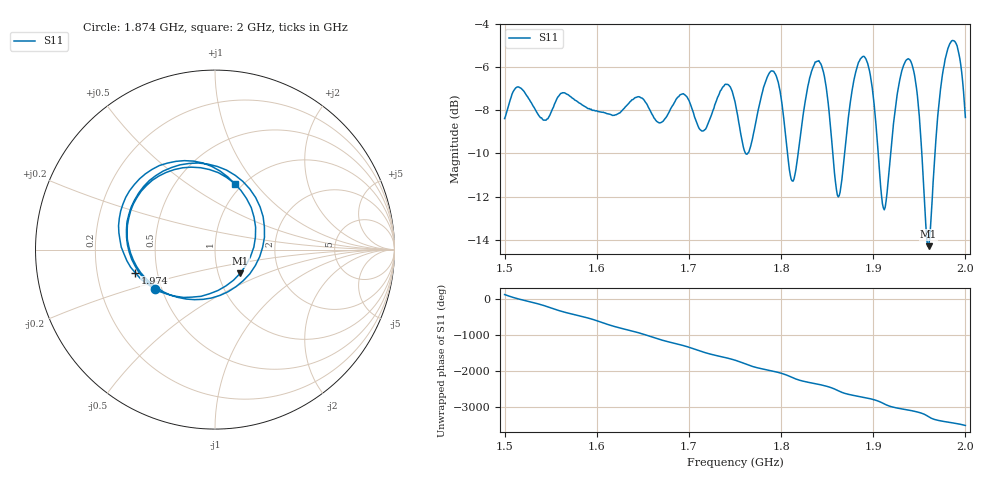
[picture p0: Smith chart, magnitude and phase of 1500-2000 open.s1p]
! NanoVNA-App by SYSJOINT et al v1.1.209 (+OD18)
! Date: 2025-09-17 10:25:24
! Start: 1.5GHz Stop: 2GHz Points: 501
! S-Parameter data: F S11
# Hz S RI R 50
!  Frequency  S11_Real  S11_Imag
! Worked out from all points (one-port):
!   501 points, 1.5 GHz to 2 GHz, reference 50 ohm
!   lowest |S11| = -14.3 dB at 1.96 GHz (marker M1), VSWR 1.48, Z = 63.7 - j17.5 ohm
!   |S11| at or under -10 dB: 1.807 GHz to 1.818 GHz (11.53 MHz wide, 0.636 % of centre); 1.905 GHz to 1.919 GHz (13.47 MHz wide, 0.704 % of centre); 1.953 GHz to 1.967 GHz (14.21 MHz wide, 0.725 % of centre) (the widest 3 of 5)
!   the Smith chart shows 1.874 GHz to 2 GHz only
!   S11 on the Smith chart (normalised r, x): 1.874 GHz: 0.46, -0.24; 1.974 GHz: 0.37, -0.12; 2 GHz: 0.92, +0.79
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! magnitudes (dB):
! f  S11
! 1.5 GHz  -8.4
! 1.514 GHz  -6.9
! 1.543 GHz  -8.5
! 1.563 GHz  -7.2
! 1.625 GHz  -8.1
! 1.669 GHz  -8.6
! 1.688 GHz  -7.4
! 1.714 GHz  -9.0
! 1.738 GHz  -6.9
! 1.75 GHz  -7.6
! 1.764 GHz  -10.0
! 1.793 GHz  -6.3
! 1.813 GHz  -11.3
! 1.837 GHz  -5.8
! 1.848 GHz  -6.7
! 1.862 GHz  -12.0
! 1.874 GHz  -8.0
! 1.875 GHz  -7.7
! 1.885 GHz  -5.7
! 1.894 GHz  -5.8
! 1.912 GHz  -12.6
! 1.927 GHz  -7.0
! 1.938 GHz  -5.6
! 1.948 GHz  -7.4
! 1.96 GHz  -14.3
! 1.974 GHz  -6.7
! 1.988 GHz  -4.8
! 2 GHz  -8.3
